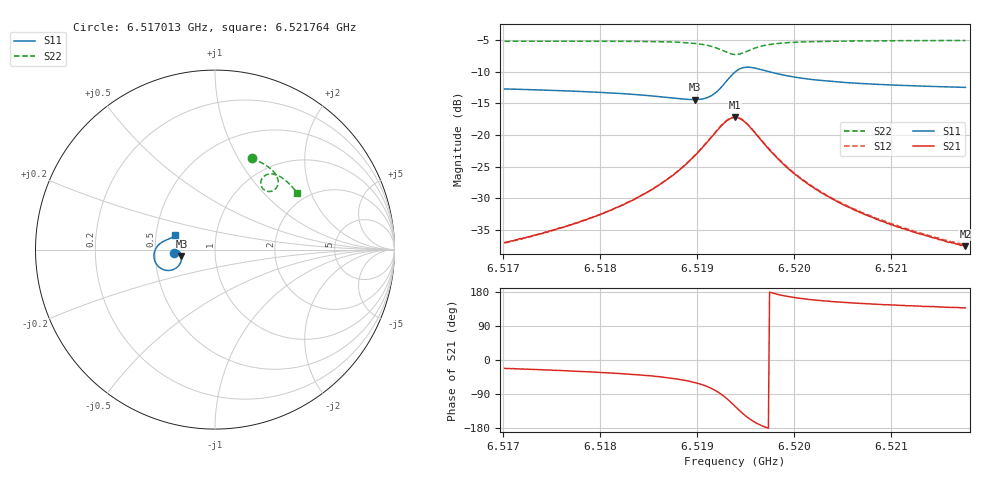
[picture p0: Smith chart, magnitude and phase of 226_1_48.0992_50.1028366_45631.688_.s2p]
#  HZ  S  RI  R  50.00
! Rohde & Schwarz Vector Network Analyzer
! Rohde-Schwarz,ZNB20-2Port,1311601062101988,3.16
! Created: UTC 12/23/2023, 3:57:16 AM
! freq[Hz]  re:S11  im:S11  re:S21  im:S21  re:S12  im:S12  re:S22  im:S22
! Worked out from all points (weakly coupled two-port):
!   401 points, 6.517013 GHz to 6.521764 GHz, reference 50 ohm
!   highest |S21| = -17.23 dB at 6.519389 GHz (marker M1); lowest = -37.5 dB at 6.521764 GHz (marker M2)
!   lowest |S11| = -14.4 dB at 6.518973 GHz (marker M3), VSWR 1.47, Z = 34.2 - j2.53 ohm
!   |S11| at or under -10 dB: start of sweep to 6.519395 GHz; 6.519735 GHz to end of sweep
!   |S22| runs from -7.3 to -5.1 dB; largest |S21 - S12| = 0.0043
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6.5170132e9  -0.2301 -0.0169  0.0131 -0.00531  0.0133 -0.00482  0.2041 0.5089
6.5174646e9  -0.2251 -0.0103  0.0155 -0.0077  0.0158 -0.00723  0.2374 0.4947
6.517809e9  -0.2201 -0.00646  0.0181 -0.0106  0.0185 -0.00991  0.263 0.4818
6.5182247e9  -0.2118 -0.00443  0.0226 -0.0166  0.0232 -0.0158  0.294 0.4621
6.5186048e9  -0.2007 -0.0092  0.029 -0.028  0.0301 -0.0274  0.3234 0.4375
6.518783e9  -0.1938 -0.0169  0.0327 -0.0387  0.034 -0.0377  0.3373 0.4208
6.518973e9  -0.1868 -0.0356  0.035 -0.0589  0.0369 -0.0581  0.3496 0.3947
6.5190799e9  -0.1867 -0.055  0.0316 -0.0778  0.0343 -0.0774  0.352 0.3736
6.5191631e9  -0.1937 -0.0766  0.0222 -0.0973  0.0252 -0.0973  0.3472 0.3534
6.5192937e9  -0.2364 -0.1125  -0.0214 -0.1258  -0.0179 -0.1274  0.3143 0.325
6.5193412e9  -0.2641 -0.1164  -0.047 -0.1264  -0.0437 -0.1287  0.2943 0.324
6.5193887e9  -0.294 -0.1089  -0.073 -0.1165  -0.0701 -0.1197  0.2745 0.3322
6.5194363e9  -0.3191 -0.0903  -0.0932 -0.0978  -0.091 -0.1011  0.2604 0.3482
6.5194956e9  -0.3367 -0.0589  -0.1054 -0.0685  -0.1041 -0.0721  0.255 0.3724
6.5196025e9  -0.3358 -0.00861  -0.099 -0.0256  -0.0992 -0.0286  0.2694 0.4055
6.5197094e9  -0.3194 0.0207  -0.0818 -0.00314  -0.0825 -0.00546  0.2924 0.4193
6.5199351e9  -0.2886 0.0456  -0.0534 0.0118  -0.0542 0.0104  0.3314 0.4197
6.5201845e9  -0.2683 0.055  -0.0365 0.014  -0.0373 0.0131  0.3601 0.4085
6.520529e9  -0.252 0.0615  -0.0245 0.013  -0.0251 0.0127  0.3889 0.3889
6.5209804e9  -0.2389 0.0682  -0.0165 0.0113  -0.017 0.0109  0.4182 0.3621
6.5213486e9  -0.2312 0.0732  -0.0126 0.0101  -0.0131 0.00988  0.4385 0.3399
6.5217643e9  -0.2239 0.0788  -0.00981 0.00899  -0.0103 0.00894  0.4591 0.3141
